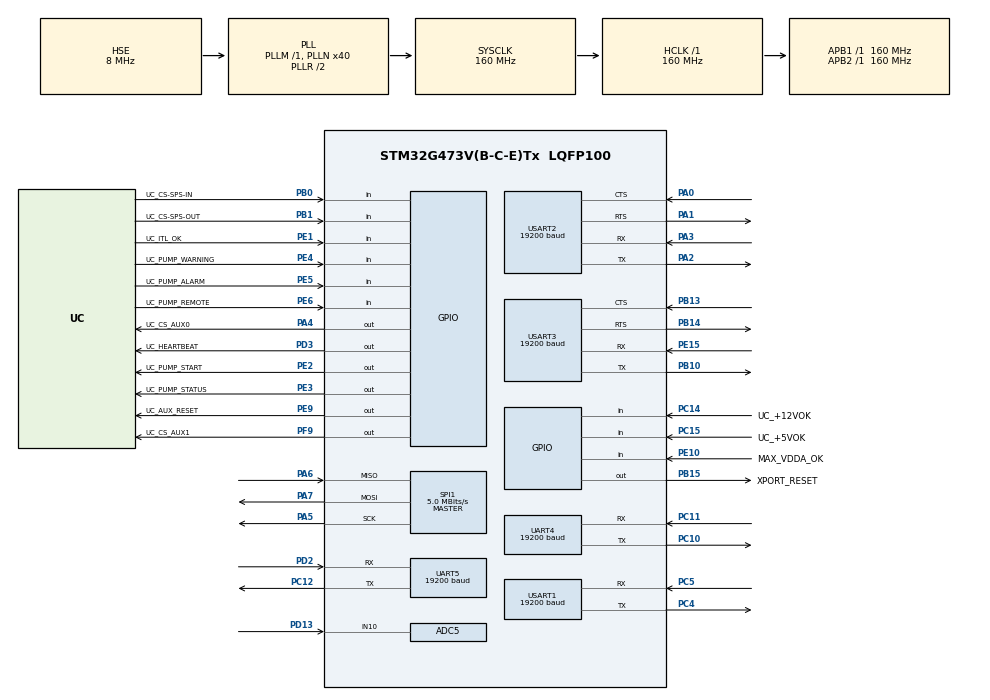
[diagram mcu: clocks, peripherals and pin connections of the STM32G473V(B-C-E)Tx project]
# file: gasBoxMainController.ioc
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ADC5.Channel-0\#ChannelRegularConversion=ADC_CHANNEL_10
ADC5.NbrOfConversionFlag=1
ADC5.OffsetNumber-0\#ChannelRegularConversion=ADC_OFFSET_NONE
ADC5.Rank-0\#ChannelRegularConversion=1
ADC5.SamplingTime-0\#ChannelRegularConversion=ADC_SAMPLETIME_2CYCLES_5
Mcu.Family=STM32G4
Mcu.Name=STM32G473V(B-C-E)Tx
Mcu.Package=LQFP100
NVIC.PriorityGroup=NVIC_PRIORITYGROUP_4
PA0.Mode=CTS_RTS
PA0.Signal=USART2_CTS
PA1.Mode=CTS_RTS
PA1.Signal=USART2_RTS
PA13.Mode=JTAG_4_pins
PA13.Signal=SYS_JTMS-SWDIO
PA14.Mode=JTAG_4_pins
PA14.Signal=SYS_JTCK-SWCLK
PA15.Mode=JTAG_4_pins
PA15.Signal=SYS_JTDI
PA2.Mode=Asynchronous
PA2.Signal=USART2_TX
PA3.Mode=Asynchronous
PA3.Signal=USART2_RX
PA4.GPIO_Label=UC_CS_AUX0
PA4.Signal=GPIO_Output
PA5.Mode=Full_Duplex_Master
PA5.Signal=SPI1_SCK
PA6.Mode=Full_Duplex_Master
PA6.Signal=SPI1_MISO
PA7.Mode=Full_Duplex_Master
PA7.Signal=SPI1_MOSI
PB0.GPIO_Label=UC_CS-SPS-IN
PB0.Signal=GPIO_Input
PB1.GPIO_Label=UC_CS-SPS-OUT
PB1.Signal=GPIO_Input
PB10.Mode=Asynchronous
PB10.Signal=USART3_TX
PB13.Mode=CTS_RTS
PB13.Signal=USART3_CTS
PB14.Mode=CTS_RTS
PB14.Signal=USART3_RTS
PB15.GPIO_Label=XPORT_RESET
PB15.Signal=GPIO_Output
PB3.Mode=JTAG_4_pins
PB3.Signal=SYS_JTDO-SWO
PC10.Mode=Asynchronous
PC10.Signal=UART4_TX
PC11.Mode=Asynchronous
PC11.Signal=UART4_RX
PC12.Mode=Asynchronous
PC12.Signal=UART5_TX
PC14-OSC32_IN.GPIO_Label=UC_+12VOK
PC14-OSC32_IN.Signal=GPIO_Input
PC15-OSC32_OUT.GPIO_Label=UC_+5VOK
PC15-OSC32_OUT.Signal=GPIO_Input
PC4.Mode=Asynchronous
PC4.Signal=USART1_TX
PC5.Mode=Asynchronous
PC5.Signal=USART1_RX
PD13.Mode=IN10-Single-Ended
PD13.Signal=ADC5_IN10
PD2.Mode=Asynchronous
PD2.Signal=UART5_RX
PD3.GPIO_Label=UC_HEARTBEAT
PD3.Signal=GPIO_Output
PE1.GPIO_Label=UC_ITL_OK
PE1.Signal=GPIO_Input
PE10.GPIO_Label=MAX_VDDA_OK
PE10.Signal=GPIO_Input
PE15.Mode=Asynchronous
PE15.Signal=USART3_RX
PE2.GPIO_Label=UC_PUMP_START
PE2.Signal=GPIO_Output
PE3.GPIO_Label=UC_PUMP_STATUS
PE3.Signal=GPIO_Output
PE4.GPIO_Label=UC_PUMP_WARNING
PE4.Signal=GPIO_Input
PE5.GPIO_Label=UC_PUMP_ALARM
PE5.Signal=GPIO_Input
PE6.GPIO_Label=UC_PUMP_REMOTE
PE6.Signal=GPIO_Input
PE9.GPIO_Label=UC_AUX_RESET
PE9.Signal=GPIO_Output
PF0-OSC_IN.Mode=HSE-External-Clock-Source
PF0-OSC_IN.Signal=RCC_OSC_IN
PF9.GPIO_Label=UC_CS_AUX1
PF9.Signal=GPIO_Output
ProjectManager.HeapSize=0x200
ProjectManager.StackSize=0x400
ProjectManager.TargetToolchain=STM32CubeIDE
RCC.ADC12Freq_Value=160000000
RCC.ADC345Freq_Value=160000000
RCC.AHBFreq_Value=160000000
RCC.APB1Freq_Value=160000000
RCC.APB1TimFreq_Value=160000000
RCC.APB2Freq_Value=160000000
RCC.APB2TimFreq_Value=160000000
RCC.CortexFreq_Value=160000000
RCC.EXTERNAL_CLOCK_VALUE=12288000
RCC.HCLKFreq_Value=160000000
RCC.HSE_VALUE=8000000
RCC.HSI48_VALUE=48000000
RCC.HSI_VALUE=16000000
RCC.LSE_VALUE=32768
RCC.PLLN=40
RCC.PLLSourceVirtual=RCC_PLLSOURCE_HSE
RCC.SYSCLKFreq_VALUE=160000000
RCC.SYSCLKSource=RCC_SYSCLKSOURCE_PLLCLK
RCC.USBFreq_Value=160000000
RCC.VCOOutputFreq_Value=320000000
SPI1.BaudRatePrescaler=SPI_BAUDRATEPRESCALER_32
SPI1.CLKPolarity=SPI_POLARITY_HIGH
SPI1.CalculateBaudRate=5.0 MBits/s
SPI1.DataSize=SPI_DATASIZE_8BIT
SPI1.Direction=SPI_DIRECTION_2LINES
SPI1.Mode=SPI_MODE_MASTER
SPI1.NSSPMode=SPI_NSS_PULSE_DISABLE
SPI1.VirtualType=VM_MASTER
TIM1.Dithering=Disable
TIM1.PeriodNoDither=49
TIM1.Prescaler=160
UART4.BaudRate=19200
UART5.BaudRate=19200
USART1.BaudRate=19200
USART1.VirtualMode-Asynchronous=VM_ASYNC
USART2.BaudRate=19200
USART2.VirtualMode-Asynchronous=VM_ASYNC
USART3.BaudRate=19200
USART3.VirtualMode-Asynchronous=VM_ASYNC
VP_SYS_VS_DBSignals.Mode=DisableDeadBatterySignals
VP_TIM1_VS_ClockSourceINT.Mode=Internal
VP_TIM1_VS_ClockSourceITR.Mode=TriggerSource_ITR0
board=custom

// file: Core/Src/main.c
/* USER CODE BEGIN Header */
/**
  ******************************************************************************
  * @file           : main.c
  * @brief          : Main program body
  ******************************************************************************
  * @attention
  *
  * Copyright (c) 2025 STMicroelectronics.
  * All rights reserved.
  *
  * This software is licensed under terms that can be found in the LICENSE file
  * in the root directory of this software component.
  * If no LICENSE file comes with this software, it is provided AS-IS.
  *
  ******************************************************************************
  */
/* USER CODE END Header */
#include "main.h"
#include "adc.h"
#include "spi.h"
#include "tim.h"
#include "usart.h"
#include "gpio.h"

/* USER CODE BEGIN Includes */
#include "uart4.h"
#include "Hardware.h"
#include "iso.h"
#include "remote.h"
#include "remote_xport.h"
#include "zentrale.h"
#include "timer0.h"
#include "func.h"
#include "prioritylist.h"
#include "priority_pushpop.h"
#include "stacks.h"
#include "resultqueue.h"
#include "zentrale_cmd_sero.h"
#include "gasbox.h"
#include "mcp.h"
#include "apc.h"
#include "rfg.h"
#include "ad5592.h"
/* USER CODE END Includes */

void SystemClock_Config(void);

int main(void)
{

  /* MCU Configuration--------------------------------------------------------*/

  /* Reset of all peripherals, Initializes the Flash interface and the Systick. */
  HAL_Init();

  /* Configure the system clock */
  SystemClock_Config();

  /* Initialize all configured peripherals */
  MX_GPIO_Init();
  MX_SPI1_Init();
  MX_UART4_Init();
  MX_UART5_Init();
  MX_USART1_UART_Init();
  MX_USART2_UART_Init();
  MX_USART3_UART_Init();
  MX_TIM1_Init();
  MX_ADC5_Init();
  /* USER CODE BEGIN 2 */
  //--- Stacks fuer die Anfragen an Zentrale und MatchingCube vorbereiten ------
  HAL_TIM_Base_Start_IT(&htim1);
  priolist_init();
  stacks_init();
  //--- Ergbenissstack fuer die Antworten von Zentrale und MatchingCube vorbereiten -------
  resultQueue_init();
  uart_initAll();
  remote_init();
  remote_xport_init();
  zentrale_init();
  gb_init();
  mio_init();
  mcp_init();
  apc_init();
  iso_init();
  rfg_init();
  hw_xport_reset_disable(1);

  HAL_Delay(500);
  while(!system_powerup_ready_light()){
	  HAL_Delay(1000);
  }
  /* USER CODE END 2 */

  /* Infinite loop */
  while (1)
  {

    /* USER CODE BEGIN 3 */
	  	//system_powerup_ready_light();
		hw_sero_get();
		remote_sero_get();
		remote_xport_sero_get();
		gb_sero_get();
		mio_sero_get();
		mcp_sero_get();
		apc_sero_get();
		rfg_sero_get();

		zentrale();

		result_get_sero();
		z_cmd_scheduler();
		hw_sero_set();
		mio_sero_set();
		mcp_sero_set();
		apc_sero_set();
  }
  /* USER CODE END 3 */
}

void SystemClock_Config(void)
{
  RCC_OscInitTypeDef RCC_OscInitStruct = {0};
  RCC_ClkInitTypeDef RCC_ClkInitStruct = {0};

  /** Configure the main internal regulator output voltage
  */
  HAL_PWREx_ControlVoltageScaling(PWR_REGULATOR_VOLTAGE_SCALE1_BOOST);

  /** Initializes the RCC Oscillators according to the specified parameters
  * in the RCC_OscInitTypeDef structure.
  */
  RCC_OscInitStruct.OscillatorType = RCC_OSCILLATORTYPE_HSE;
  RCC_OscInitStruct.HSEState = RCC_HSE_BYPASS;
  RCC_OscInitStruct.PLL.PLLState = RCC_PLL_ON;
  RCC_OscInitStruct.PLL.PLLSource = RCC_PLLSOURCE_HSE;
  RCC_OscInitStruct.PLL.PLLM = RCC_PLLM_DIV1;
  RCC_OscInitStruct.PLL.PLLN = 40;
  RCC_OscInitStruct.PLL.PLLP = RCC_PLLP_DIV2;
  RCC_OscInitStruct.PLL.PLLQ = RCC_PLLQ_DIV2;
  RCC_OscInitStruct.PLL.PLLR = RCC_PLLR_DIV2;
  if (HAL_RCC_OscConfig(&RCC_OscInitStruct) != HAL_OK)
  {
    Error_Handler();
  }

  /** Initializes the CPU, AHB and APB buses clocks
  */
  RCC_ClkInitStruct.ClockType = RCC_CLOCKTYPE_HCLK|RCC_CLOCKTYPE_SYSCLK
                              |RCC_CLOCKTYPE_PCLK1|RCC_CLOCKTYPE_PCLK2;
  RCC_ClkInitStruct.SYSCLKSource = RCC_SYSCLKSOURCE_PLLCLK;
  RCC_ClkInitStruct.AHBCLKDivider = RCC_SYSCLK_DIV1;
  RCC_ClkInitStruct.APB1CLKDivider = RCC_HCLK_DIV1;
  RCC_ClkInitStruct.APB2CLKDivider = RCC_HCLK_DIV1;

  if (HAL_RCC_ClockConfig(&RCC_ClkInitStruct, FLASH_LATENCY_4) != HAL_OK)
  {
    Error_Handler();
  }
}

void Error_Handler(void)
{
  __disable_irq();
  while (1)
  {
  }
}
